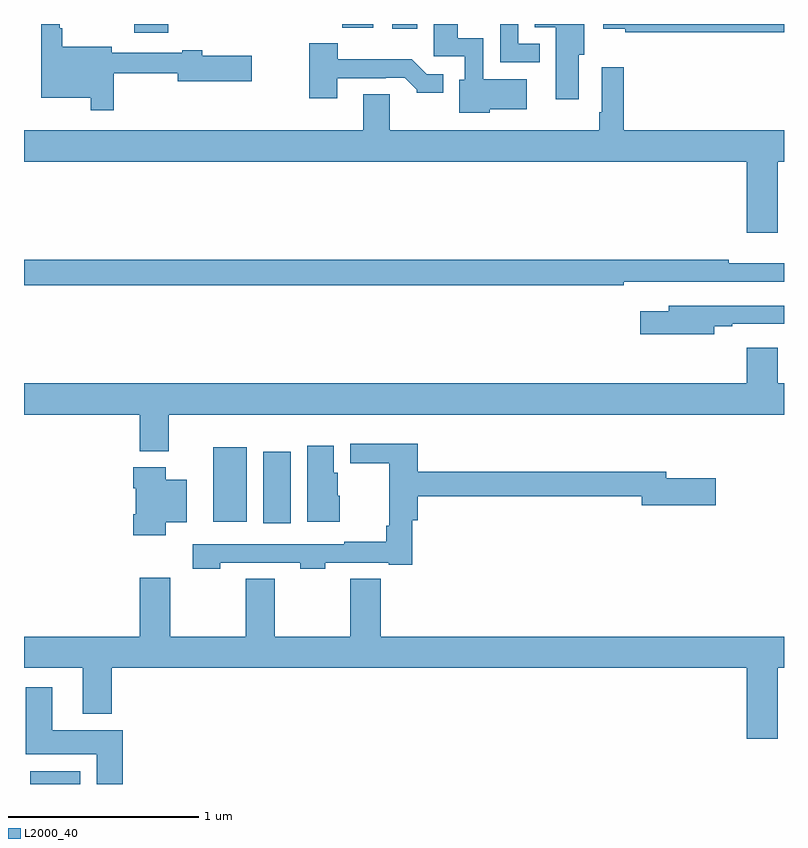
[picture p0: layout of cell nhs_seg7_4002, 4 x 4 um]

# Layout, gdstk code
import gdstk
lib = gdstk.Library(unit=1e-6, precision=1e-09)
def R(c, l, rs):  # rectangles x0, y0, x1, y1
    for r in rs: c.add(gdstk.rectangle(r[:2], r[2:], *l))
def P(c, l, *ps):  # polygons
    for p in ps: c.add(gdstk.Polygon(p, *l))
L2000_40 = (2000, 40)

nhs_seg7_4002 = lib.new_cell('nhs_seg7_4002')
R(nhs_seg7_4002, L2000_40, [(365.033,1004,365.296,1004.068), (366.26,1005.372,366.403,1005.748), (365.996,1005.38,366.172,1005.772), (365.581,1007.955,365.759,1008), (366.938,1007.976,367.069,1008), (366.676,1007.981,366.838,1008)])
P(nhs_seg7_4002, L2000_40, [(367.921,1007.838),(367.948,1007.838),(367.948,1008),(367.687,1008),(367.687,1007.984),(367.799,1007.984),(367.799,1007.604),(367.921,1007.604)],
  [(367.452,1007.552),(367.645,1007.552),(367.645,1007.71),(367.416,1007.71),(367.416,1007.926),(367.282,1007.926),(367.282,1008),(367.157,1008),(367.157,1007.829),(367.32,1007.829),(367.32,1007.706),(367.292,1007.706),(367.292,1007.534),(367.452,1007.534)],
  [(369,1008),(368.048,1008),(368.048,1007.975),(368.164,1007.975),(368.164,1007.956),(369,1007.956)],
  [(367.714,1007.895),(367.602,1007.895),(367.602,1008),(367.506,1008),(367.506,1007.799),(367.714,1007.799)],
  [(365.473,1007.742),(365.81,1007.742),(365.81,1007.699),(366.199,1007.699),(366.199,1007.834),(365.938,1007.834),(365.938,1007.863),(365.834,1007.863),(365.834,1007.85),(365.461,1007.85),(365.461,1007.881),(365.2,1007.881),(365.2,1007.977),(365.187,1007.977),(365.187,1008),(365.09,1008),(365.09,1007.612),(365.352,1007.612),(365.352,1007.547),(365.473,1007.547)],
  [(366.649,1007.715),(366.905,1007.715),(366.905,1007.718),(367.004,1007.718),(367.068,1007.654),(367.068,1007.639),(367.207,1007.639),(367.207,1007.736),(367.119,1007.736),(367.041,1007.815),(366.652,1007.815),(366.652,1007.899),(366.502,1007.899),(366.502,1007.61),(366.649,1007.61)],
  [(368.968,1007.276),(369,1007.276),(369,1007.44),(368.156,1007.44),(368.156,1007.773),(368.04,1007.773),(368.04,1007.536),(368.028,1007.536),(368.028,1007.44),(366.925,1007.44),(366.925,1007.63),(366.785,1007.63),(366.785,1007.44),(365,1007.44),(365,1007.276),(368.804,1007.276),(368.804,1006.902),(368.968,1006.902)],
  [(368.156,1006.644),(369,1006.644),(369,1006.741),(368.708,1006.741),(368.708,1006.76),(365,1006.76),(365,1006.624),(368.156,1006.624)],
  [(368.632,1006.41),(368.728,1006.41),(368.728,1006.422),(369,1006.422),(369,1006.518),(368.393,1006.518),(368.393,1006.489),(368.244,1006.489),(368.244,1006.367),(368.632,1006.367)],
  [(365.761,1005.944),(369,1005.944),(369,1006.108),(368.968,1006.108),(368.968,1006.297),(368.804,1006.297),(368.804,1006.108),(365,1006.108),(365,1005.944),(365.609,1005.944),(365.609,1005.752),(365.761,1005.752)],
  [(366.033,1005.165),(366.453,1005.165),(366.453,1005.133),(366.585,1005.133),(366.585,1005.165),(366.92,1005.165),(366.92,1005.153),(367.043,1005.153),(367.043,1005.389),(367.073,1005.389),(367.073,1005.514),(368.252,1005.514),(368.252,1005.467),(368.641,1005.467),(368.641,1005.609),(368.38,1005.609),(368.38,1005.643),(367.073,1005.643),(367.073,1005.79),(366.717,1005.79),(366.717,1005.688),(366.922,1005.688),(366.922,1005.358),(366.907,1005.358),(366.907,1005.274),(366.685,1005.274),(366.685,1005.261),(365.889,1005.261),(365.889,1005.133),(366.033,1005.133)],
  [(366.661,1005.516),(366.652,1005.516),(366.652,1005.639),(366.631,1005.639),(366.631,1005.781),(366.491,1005.781),(366.491,1005.38),(366.661,1005.38)],
  [(365.746,1005.377),(365.857,1005.377),(365.857,1005.601),(365.746,1005.601),(365.746,1005.667),(365.576,1005.667),(365.576,1005.557),(365.588,1005.557),(365.588,1005.421),(365.576,1005.421),(365.576,1005.309),(365.746,1005.309)],
  [(368.968,1004.612),(369,1004.612),(369,1004.776),(366.878,1004.776),(366.878,1005.08),(366.718,1005.08),(366.718,1004.776),(366.32,1004.776),(366.32,1005.08),(366.166,1005.08),(366.166,1004.776),(365.769,1004.776),(365.769,1005.085),(365.609,1005.085),(365.609,1004.776),(365,1004.776),(365,1004.612),(365.309,1004.612),(365.309,1004.369),(365.462,1004.369),(365.462,1004.612),(368.804,1004.612),(368.804,1004.238),(368.968,1004.238)],
  [(365.519,1004.284),(365.149,1004.284),(365.149,1004.509),(365.009,1004.509),(365.009,1004.156),(365.384,1004.156),(365.384,1004),(365.519,1004)])

lib.write_gds('nhs_seg7_4002.gds')
